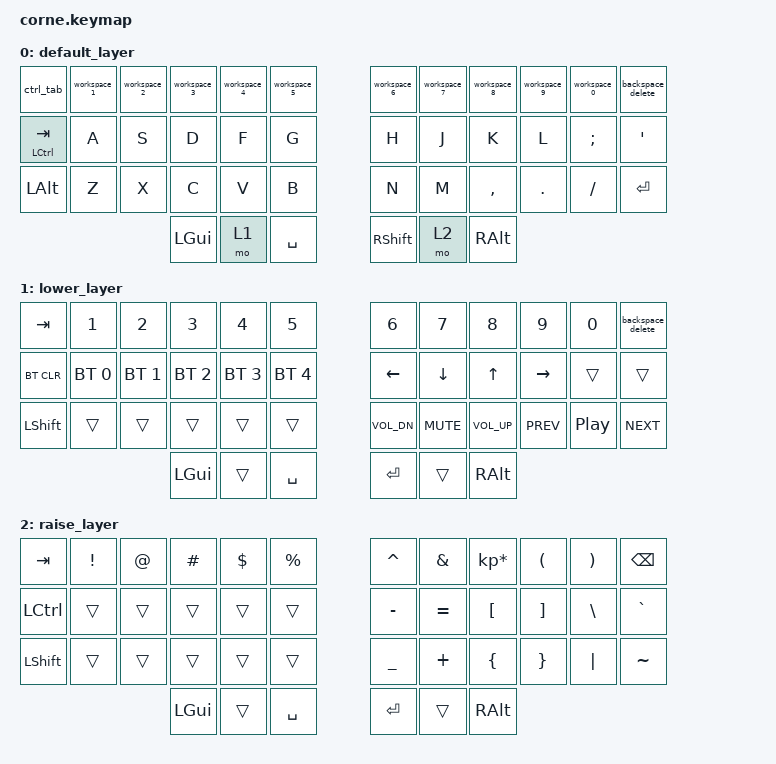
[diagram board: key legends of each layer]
/*
 * Copyright (c) 2020 The ZMK Contributors
 *
 * SPDX-License-Identifier: MIT
 */

#include <behaviors.dtsi>
#include <dt-bindings/zmk/bt.h>
#include <dt-bindings/zmk/keys.h>

/ {
    combos { compatible = "zmk,combos"; };

    behaviors {
        workspace_1: workspace_1 {
            compatible = "zmk,behavior-mod-morph";
            label = "WORKSPACE_1";
            bindings = <&kp Q>, <&kp N1>;

            #binding-cells = <0>;
            mods = <(MOD_LGUI)>;
            keep-mods = <(MOD_LGUI)>;
        };

        workspace_2: workspace_2 {
            compatible = "zmk,behavior-mod-morph";
            label = "WORKSPACE_2";
            bindings = <&kp W>, <&kp N2>;

            #binding-cells = <0>;
            mods = <(MOD_LGUI)>;
            keep-mods = <(MOD_LGUI)>;
        };

        workspace_3: workspace_3 {
            compatible = "zmk,behavior-mod-morph";
            label = "WORKSPACE_3";
            bindings = <&kp E>, <&kp N3>;

            #binding-cells = <0>;
            mods = <(MOD_LGUI)>;
            keep-mods = <(MOD_LGUI)>;
        };

        workspace_4: workspace_4 {
            compatible = "zmk,behavior-mod-morph";
            label = "WORKSPACE_4";
            bindings = <&kp R>, <&kp N4>;

            #binding-cells = <0>;
            mods = <(MOD_LGUI)>;
            keep-mods = <(MOD_LGUI)>;
        };

        workspace_5: workspace_5 {
            compatible = "zmk,behavior-mod-morph";
            label = "WORKSPACE_5";
            bindings = <&kp T>, <&kp N5>;

            #binding-cells = <0>;
            mods = <(MOD_LGUI)>;
            keep-mods = <(MOD_LGUI)>;
        };

        workspace_6: workspace_6 {
            compatible = "zmk,behavior-mod-morph";
            label = "WORKSPACE_6";
            bindings = <&kp Y>, <&kp N6>;

            #binding-cells = <0>;
            mods = <(MOD_LGUI)>;
            keep-mods = <(MOD_LGUI)>;
        };

        workspace_7: workspace_7 {
            compatible = "zmk,behavior-mod-morph";
            label = "WORKSPACE_7";
            bindings = <&kp U>, <&kp N7>;

            #binding-cells = <0>;
            mods = <(MOD_LGUI)>;
            keep-mods = <(MOD_LGUI)>;
        };

        workspace_8: workspace_8 {
            compatible = "zmk,behavior-mod-morph";
            label = "WORKSPACE_8";
            bindings = <&kp I>, <&kp N8>;

            #binding-cells = <0>;
            mods = <(MOD_LGUI)>;
            keep-mods = <(MOD_LGUI)>;
        };

        workspace_9: workspace_9 {
            compatible = "zmk,behavior-mod-morph";
            label = "WORKSPACE_9";
            bindings = <&kp O>, <&kp N9>;

            #binding-cells = <0>;
            mods = <(MOD_LGUI)>;
            keep-mods = <(MOD_LGUI)>;
        };

        workspace_0: workspace_0 {
            compatible = "zmk,behavior-mod-morph";
            label = "WORKSPACE_0";
            bindings = <&kp P>, <&kp N0>;

            #binding-cells = <0>;
            mods = <(MOD_LGUI)>;
            keep-mods = <(MOD_LGUI)>;
        };

        ht_200: ht_200 {
            compatible = "zmk,behavior-hold-tap";
            label = "HT_200";
            bindings = <&kp>, <&kp>;

            #binding-cells = <2>;
            tapping-term-ms = <200>;
        };

        quit: quit {
            compatible = "zmk,behavior-mod-morph";
            label = "QUIT";
            bindings = <&kp ESC>, <&kp Q>;

            #binding-cells = <0>;
            mods = <(MOD_LGUI)>;
            keep-mods = <(MOD_LGUI)>;
        };

        ctrl_tab: ctrl_tab {
            compatible = "zmk,behavior-mod-morph";
            label = "CTRL_TAB";
            bindings = <&quit>, <&kp TAB>;

            #binding-cells = <0>;
            keep-mods = <(MOD_LCTL)>;
            mods = <(MOD_LCTL)>;
        };

        backspace_delete: backspace_delete {
            compatible = "zmk,behavior-mod-morph";
            label = "BACKSPACE_DELETE";
            bindings = <&kp BACKSPACE>, <&kp DEL>;

            #binding-cells = <0>;
            mods = <(MOD_LGUI)>;
        };
    };

    keymap {
        compatible = "zmk,keymap";

        default_layer {
            // -----------------------------------------------------------------------------------------
            // |  ESC |  Q  |  W  |  E  |  R  |  T  |   |  Y  |  U   |  I  |  O  |  P  | BKSP |
            // |  TAB |  A  |  S  |  D  |  F  |  G  |   |  H  |  J   |  K  |  L  |  ;  |  '   |
            // | CTRL |  Z  |  X  |  C  |  V  |  B  |   |  N  |  M   |  ,  |  .  |  /  | SHFT |
            //                    | GUI | LWR | SPC |   | ENT | RSE  | ALT |

            bindings = <
&ctrl_tab          &workspace_1  &workspace_2  &workspace_3  &workspace_4  &workspace_5    &workspace_6  &workspace_7  &workspace_8  &workspace_9  &workspace_0  &backspace_delete
&ht_200 LCTRL TAB  &kp A         &kp S         &kp D         &kp F         &kp G           &kp H         &kp J         &kp K         &kp L         &kp SEMI      &kp SQT
&kp LEFT_ALT       &kp Z         &kp X         &kp C         &kp V         &kp B           &kp N         &kp M         &kp COMMA     &kp DOT       &kp FSLH      &kp ENTER
                                               &kp LGUI      &mo 1         &kp SPACE       &kp RSHIFT    &mo 2         &kp RALT
            >;
        };

        lower_layer {
            // -----------------------------------------------------------------------------------------
            // |  TAB |  1  |  2  |  3  |  4  |  5  |   |  6  |  7  |  8  |  9  |  0  | BKSP |
            // | BTCLR| BT1 | BT2 | BT3 | BT4 | BT5 |   | LFT | DWN |  UP | RGT |     |      |
            // | SHFT |     |     |     |     |     |   |     |     |     |     |     |      |
            //                    | GUI |     | SPC |   | ENT |     | ALT |

            bindings = <
&kp TAB     &kp N1        &kp N2        &kp N3        &kp N4        &kp N5          &kp N6        &kp N7      &kp N8        &kp N9      &kp N0            &backspace_delete
&bt BT_CLR  &bt BT_SEL 0  &bt BT_SEL 1  &bt BT_SEL 2  &bt BT_SEL 3  &bt BT_SEL 4    &kp LEFT      &kp DOWN    &kp UP        &kp RIGHT   &trans            &trans
&kp LSHFT   &trans        &trans        &trans        &trans        &trans          &kp C_VOL_DN  &kp C_MUTE  &kp C_VOL_UP  &kp C_PREV  &kp C_PLAY_PAUSE  &kp C_NEXT
                                        &kp LGUI      &trans        &kp SPACE       &kp RET       &trans      &kp RALT
            >;
        };

        raise_layer {
            // -----------------------------------------------------------------------------------------
            // |  TAB |  !  |  @  |  #  |  $  |  %  |   |  ^  |  &  |  *  |  (  |  )  | BKSP |
            // | CTRL |     |     |     |     |     |   |  -  |  =  |  [  |  ]  |  \  |  `   |
            // | SHFT |     |     |     |     |     |   |  _  |  +  |  {  |  }  | "|" |  ~   |
            //                    | GUI |     | SPC |   | ENT |     | ALT |

            bindings = <
&kp TAB    &kp EXCL  &kp AT  &kp HASH  &kp DLLR  &kp PRCNT    &kp CARET  &kp AMPS   &kp KP_MULTIPLY  &kp LPAR  &kp RPAR  &kp BSPC
&kp LCTRL  &trans    &trans  &trans    &trans    &trans       &kp MINUS  &kp EQUAL  &kp LBKT         &kp RBKT  &kp BSLH  &kp GRAVE
&kp LSHFT  &trans    &trans  &trans    &trans    &trans       &kp UNDER  &kp PLUS   &kp LBRC         &kp RBRC  &kp PIPE  &kp TILDE
                             &kp LGUI  &trans    &kp SPACE    &kp RET    &trans     &kp RALT
            >;
        };
    };
};
